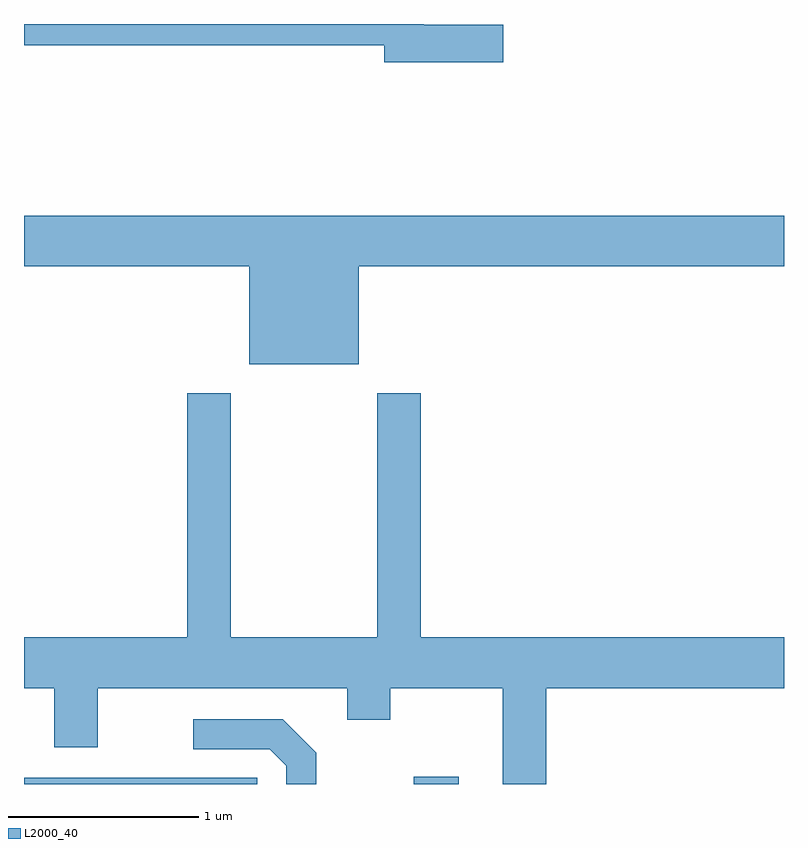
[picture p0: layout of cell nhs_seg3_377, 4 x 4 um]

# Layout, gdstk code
import gdstk
lib = gdstk.Library(unit=1e-6, precision=1e-09)
def R(c, l, rs):  # rectangles x0, y0, x1, y1
    for r in rs: c.add(gdstk.rectangle(r[:2], r[2:], *l))
def P(c, l, *ps):  # polygons
    for p in ps: c.add(gdstk.Polygon(p, *l))
L2000_40 = (2000, 40)

nhs_seg3_377 = lib.new_cell('nhs_seg3_377')
R(nhs_seg3_377, L2000_40, [(195.611,1189.892,196.839,1189.924), (197.663,1189.892,197.899,1189.929)])
P(nhs_seg3_377, L2000_40, [(198.134,1193.889),(197.714,1193.889),(197.714,1193.892),(195.611,1193.892),(195.611,1193.781),(197.506,1193.781),(197.506,1193.691),(198.134,1193.691)],
  [(197.374,1192.616),(199.611,1192.616),(199.611,1192.884),(195.611,1192.884),(195.611,1192.616),(196.796,1192.616),(196.796,1192.101),(197.374,1192.101)],
  [(198.359,1190.396),(199.611,1190.396),(199.611,1190.664),(197.699,1190.664),(197.699,1191.949),(197.471,1191.949),(197.471,1190.664),(196.699,1190.664),(196.699,1191.949),(196.471,1191.949),(196.471,1190.664),(195.611,1190.664),(195.611,1190.396),(195.771,1190.396),(195.771,1190.086),(195.999,1190.086),(195.999,1190.396),(197.311,1190.396),(197.311,1190.231),(197.539,1190.231),(197.539,1190.396),(198.131,1190.396),(198.131,1189.892),(198.359,1189.892)],
  [(197.149,1190.057),(196.972,1190.234),(196.503,1190.234),(196.503,1190.076),(196.904,1190.076),(196.991,1189.989),(196.991,1189.892),(197.149,1189.892)])

lib.write_gds('nhs_seg3_377.gds')
